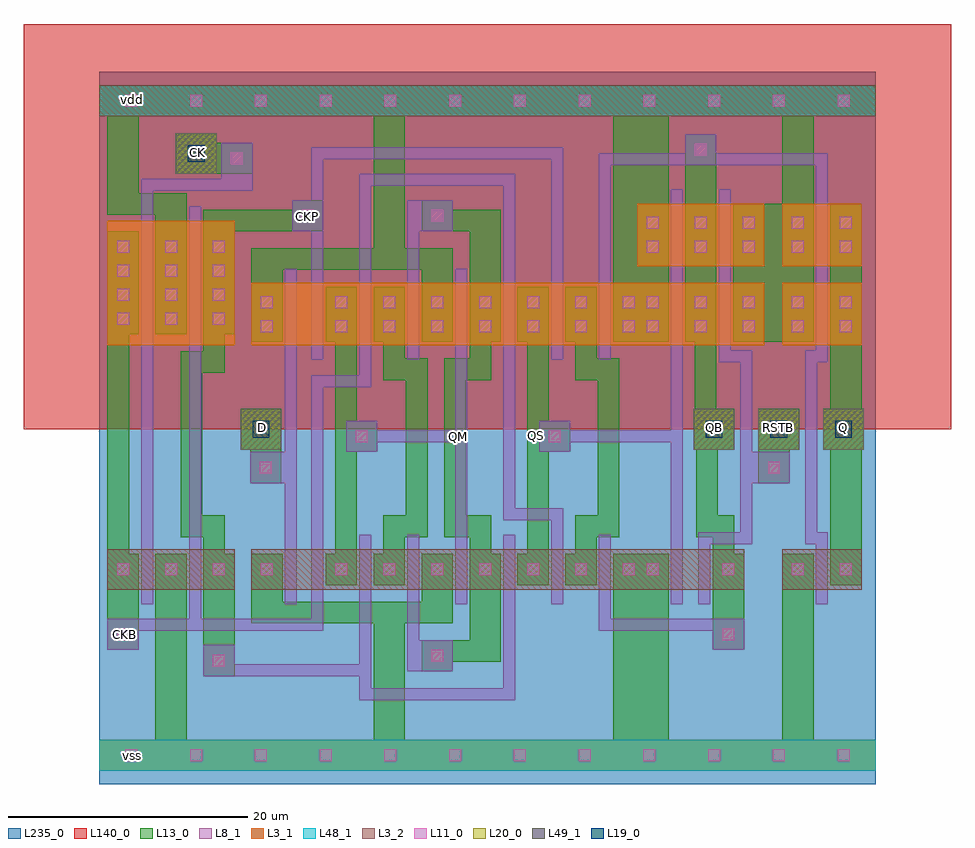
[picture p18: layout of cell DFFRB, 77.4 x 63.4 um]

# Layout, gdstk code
import gdstk
lib = gdstk.Library(unit=1e-6, precision=1e-09)
def R(c, l, rs):  # rectangles x0, y0, x1, y1
    for r in rs: c.add(gdstk.rectangle(r[:2], r[2:], *l))
def A(c, l, x, y, w, h, nx, ny, dx, dy):  # array of equal rectangles
    R(c, l, [(x+i*dx, y+j*dy, x+i*dx+w, y+j*dy+h) for i in range(nx) for j in range(ny)])
def P(c, l, *ps):  # polygons
    for p in ps: c.add(gdstk.Polygon(p, *l))
L3_1 = (3, 1)
L3_2 = (3, 2)
L8_1 = (8, 1)
L11_0 = (11, 0)
L13_0 = (13, 0)
L19_0 = (19, 0)
L20_0 = (20, 0)
L48_1 = (48, 1)
L49_1 = (49, 1)
L140_0 = (140, 0)
L235_0 = (235, 0)

dffrb = lib.new_cell('DFFRB')
R(dffrb, L3_1, [(0,1.1,39,3.7), (39,1.1,64.8,3.7), (0.7,36.6,11.3,47), (12.7,36.6,39,41.8), (39,36.6,55.5,41.8), (57,36.6,63.6,41.8), (44.9,43.2,55.5,48.4), (57,43.2,63.6,48.4)])
R(dffrb, L3_2, [(0.7,16.2,11.3,19.6), (12.7,16.2,39,19.6), (39,16.2,53.8,19.6), (57,16.2,63.6,19.6), (0,55.7,39,58.3), (39,55.7,64.8,58.3)])
P(dffrb, L8_1, [(25.7,9.4),(25.7,20.8),(26.7,20.8),(26.7,12),(29.5,12),(29.5,9.4)],
  [(21.7,7),(21.7,9),(8.7,9),(8.7,11.6),(11.3,11.6),(11.3,10),(21.7,10),(21.7,20.8),(22.7,20.8),(22.7,8),(33.7,8),(33.7,20.8),(34.7,20.8),(34.7,7)],
  [(51.2,11.2),(51.2,12.8),(41.7,12.8),(41.7,20.8),(42.7,20.8),(42.7,13.8),(53.8,13.8),(53.8,11.2)],
  [(15.5,15),(15.5,25.1),(12.6,25.1),(12.6,27.7),(15.5,27.7),(15.5,43),(16.5,43),(16.5,15)],
  [(29.7,15),(29.7,28.5),(23.2,28.5),(23.2,27.7),(20.6,27.7),(20.6,30.3),(23.2,30.3),(23.2,29.5),(29.7,29.5),(29.7,43),(30.7,43),(30.7,15)],
  [(25.7,35.4),(25.7,48.7),(29.5,48.7),(29.5,46.1),(26.7,46.1),(26.7,35.4)],
  [(47.7,15),(47.7,28.5),(39.3,28.5),(39.3,27.7),(36.7,27.7),(36.7,30.3),(39.3,30.3),(39.3,29.5),(47.7,29.5),(47.7,49.6),(48.7,49.6),(48.7,15)],
  [(50,15),(50,21),(53.5,21),(53.5,35.2),(51.7,35.2),(51.7,49.6),(52.7,49.6),(52.7,36.2),(54.5,36.2),(54.5,27.7),(57.6,27.7),(57.6,25.1),(54.5,25.1),(54.5,20),(51,20),(51,15)],
  [(0.7,11.2),(0.7,13.8),(7.5,13.8),(7.5,48.2),(8.5,48.2),(8.5,13.8),(17.7,13.8),(17.7,34.1),(21.7,34.1),(21.7,50.9),(34.7,50.9),(34.7,23),(38.7,23),(38.7,15),(37.7,15),(37.7,22),(33.7,22),(33.7,49.9),(22.7,49.9),(22.7,33.1),(18.7,33.1),(18.7,12.8),(3.3,12.8),(3.3,11.2)],
  [(17.7,35.4),(17.7,46.1),(16.1,46.1),(16.1,48.7),(17.7,48.7),(17.7,53.1),(38.7,53.1),(38.7,35.4),(37.7,35.4),(37.7,52.1),(18.7,52.1),(18.7,35.4)],
  [(3.5,15),(3.5,50.5),(10.2,50.5),(10.2,53.5),(12.8,53.5),(12.8,49.5),(4.5,49.5),(4.5,15)],
  [(59.8,15),(59.8,20),(58.9,20),(58.9,36.2),(59.8,36.2),(59.8,51.6),(42.7,51.6),(42.7,35.4),(41.7,35.4),(41.7,52.6),(48.9,52.6),(48.9,54.2),(51.5,54.2),(51.5,52.6),(60.8,52.6),(60.8,35.2),(59.9,35.2),(59.9,21),(60.8,21),(60.8,15)])
A(dffrb, L11_0, 2.2, 1.9, 1, 1, 12, 2, 5.4, 54.6)
A(dffrb, L11_0, 1.5, 17.4, 1, 1, 4, 1, 4, 0)
A(dffrb, L11_0, 1.5, 38.3, 1, 1, 3, 4, 4, 2)
R(dffrb, L11_0, [(9.5,9.8,10.5,10.8), (27.7,10.2,28.7,11.2), (1.5,12,2.5,13), (52,12,53,13), (19.7,17.4,20.7,18.4), (19.7,17.4,20.7,18.4), (23.7,17.4,24.7,18.4), (23.7,17.4,24.7,18.4), (27.7,17.4,28.7,18.4), (27.7,17.4,28.7,18.4), (27.7,17.4,28.7,18.4), (27.7,17.4,28.7,18.4), (31.7,17.4,32.7,18.4), (31.7,17.4,32.7,18.4), (35.7,17.4,36.7,18.4), (35.7,17.4,36.7,18.4), (35.7,17.4,36.7,18.4), (35.7,17.4,36.7,18.4), (39.7,17.4,40.7,18.4), (39.7,17.4,40.7,18.4), (43.7,17.4,44.7,18.4), (45.7,17.4,46.7,18.4), (45.7,17.4,46.7,18.4), (45.7,17.4,46.7,18.4), (45.7,17.4,46.7,18.4), (45.7,17.4,46.7,18.4), (45.7,17.4,46.7,18.4), (52,17.4,53,18.4), (57.8,17.4,58.8,18.4), (57.8,17.4,58.8,18.4), (61.8,17.4,62.8,18.4), (13.4,25.9,14.4,26.9), (55.8,25.9,56.8,26.9), (21.4,28.5,22.4,29.5), (37.5,28.5,38.5,29.5), (13.5,37.7,14.5,38.7), (19.7,37.7,20.7,38.7), (19.7,37.7,20.7,38.7), (23.7,37.7,24.7,38.7), (23.7,37.7,24.7,38.7), (27.7,37.7,28.7,38.7), (27.7,37.7,28.7,38.7), (27.7,37.7,28.7,38.7), (27.7,37.7,28.7,38.7), (31.7,37.7,32.7,38.7), (31.7,37.7,32.7,38.7), (35.7,37.7,36.7,38.7), (35.7,37.7,36.7,38.7), (35.7,37.7,36.7,38.7), (35.7,37.7,36.7,38.7), (39.7,37.7,40.7,38.7), (39.7,37.7,40.7,38.7), (43.7,37.7,44.7,38.7), (45.7,37.7,46.7,38.7), (45.7,37.7,46.7,38.7), (45.7,37.7,46.7,38.7), (45.7,37.7,46.7,38.7), (45.7,37.7,46.7,38.7), (49.7,37.7,50.7,38.7), (49.7,37.7,50.7,38.7), (49.7,37.7,50.7,38.7), (53.7,37.7,54.7,38.7), (53.7,37.7,54.7,38.7), (53.7,37.7,54.7,38.7), (57.8,37.7,58.8,38.7), (57.8,37.7,58.8,38.7), (61.8,37.7,62.8,38.7), (61.8,37.7,62.8,38.7), (13.5,39.7,14.5,40.7), (19.7,39.7,20.7,40.7), (19.7,39.7,20.7,40.7), (23.7,39.7,24.7,40.7), (23.7,39.7,24.7,40.7), (27.7,39.7,28.7,40.7), (27.7,39.7,28.7,40.7), (27.7,39.7,28.7,40.7), (27.7,39.7,28.7,40.7), (31.7,39.7,32.7,40.7), (31.7,39.7,32.7,40.7), (35.7,39.7,36.7,40.7), (35.7,39.7,36.7,40.7), (35.7,39.7,36.7,40.7), (35.7,39.7,36.7,40.7), (39.7,39.7,40.7,40.7), (39.7,39.7,40.7,40.7), (43.7,39.7,44.7,40.7), (45.7,39.7,46.7,40.7), (45.7,39.7,46.7,40.7), (45.7,39.7,46.7,40.7), (45.7,39.7,46.7,40.7), (45.7,39.7,46.7,40.7), (45.7,39.7,46.7,40.7), (49.7,39.7,50.7,40.7), (49.7,39.7,50.7,40.7), (49.7,39.7,50.7,40.7), (53.7,39.7,54.7,40.7), (53.7,39.7,54.7,40.7), (53.7,39.7,54.7,40.7), (57.8,39.7,58.8,40.7), (57.8,39.7,58.8,40.7), (61.8,39.7,62.8,40.7), (61.8,39.7,62.8,40.7), (45.7,44.3,46.7,45.3), (49.7,44.3,50.7,45.3), (49.7,44.3,50.7,45.3), (49.7,44.3,50.7,45.3), (53.7,44.3,54.7,45.3), (53.7,44.3,54.7,45.3), (53.7,44.3,54.7,45.3), (57.8,44.3,58.8,45.3), (57.8,44.3,58.8,45.3), (57.8,44.3,58.8,45.3), (57.8,44.3,58.8,45.3), (61.8,44.3,62.8,45.3), (61.8,44.3,62.8,45.3), (45.7,46.3,46.7,47.3), (49.7,46.3,50.7,47.3), (49.7,46.3,50.7,47.3), (49.7,46.3,50.7,47.3), (53.7,46.3,54.7,47.3), (53.7,46.3,54.7,47.3), (53.7,46.3,54.7,47.3), (57.8,46.3,58.8,47.3), (57.8,46.3,58.8,47.3), (57.8,46.3,58.8,47.3), (57.8,46.3,58.8,47.3), (61.8,46.3,62.8,47.3), (61.8,46.3,62.8,47.3), (16.9,46.9,17.9,47.9), (27.7,46.9,28.7,47.9), (11,51.7,12,52.7), (49.7,52.4,50.7,53.4)])
R(dffrb, L13_0, [(0,1.1,39,3.7), (39,1.1,64.8,3.7), (4.7,3.7,7.3,19.2), (42.9,3.7,47.5,19.2), (57,3.7,59.6,19.2), (8.7,9,11.3,11.6), (26.9,9.4,29.5,12), (42.9,36.9,47.5,55.7), (52.9,36.9,57,48.4), (57,36.9,59.6,55.7), (0,55.7,39,58.3), (39,55.7,64.8,58.3)])
P(dffrb, L13_0, [(12.7,36.9),(12.7,44.7),(22.9,44.7),(22.9,55.7),(25.5,55.7),(25.5,44.7),(29.5,44.7),(29.5,36.9),(26.9,36.9),(26.9,42.9),(15.3,42.9),(15.3,36.9)],
  [(4.7,37.5),(4.7,47.5),(0.7,47.5),(0.7,55.7),(3.3,55.7),(3.3,49.3),(7.3,49.3),(7.3,37.5)],
  [(12.6,25.1),(12.6,27.9),(11.8,27.9),(11.8,31.3),(15.2,31.3),(15.2,25.1)],
  [(55,25.1),(55,31.3),(58.4,31.3),(58.4,27.9),(57.6,27.9),(57.6,25.1)],
  [(18.9,16.6),(18.9,19.2),(19.7,19.2),(19.7,36.9),(18.9,36.9),(18.9,41.5),(21.5,41.5),(21.5,30.3),(23.2,30.3),(23.2,27.7),(21.5,27.7),(21.5,16.6)],
  [(22.9,16.6),(22.9,19.2),(23.7,19.2),(23.7,22.4),(25.6,22.4),(25.6,33.7),(23.7,33.7),(23.7,36.9),(22.9,36.9),(22.9,41.5),(25.5,41.5),(25.5,35.5),(27.4,35.5),(27.4,20.6),(25.5,20.6),(25.5,16.6)],
  [(34.9,16.6),(34.9,19.2),(35.7,19.2),(35.7,36.9),(34.9,36.9),(34.9,41.5),(37.5,41.5),(37.5,30.3),(39.3,30.3),(39.3,27.7),(37.5,27.7),(37.5,16.6)],
  [(38.9,16.6),(38.9,19.2),(39.7,19.2),(39.7,22.4),(41.6,22.4),(41.6,33.7),(39.7,33.7),(39.7,36.9),(38.9,36.9),(38.9,41.5),(41.5,41.5),(41.5,35.5),(43.4,35.5),(43.4,20.6),(41.5,20.6),(41.5,16.6)],
  [(0.7,11.2),(0.7,46.1),(3.3,46.1),(3.3,37.5),(2.5,37.5),(2.5,19.2),(3.3,19.2),(3.3,11.2)],
  [(61,16.6),(61,27.9),(60.4,27.9),(60.4,31.3),(61,31.3),(61,48.4),(63.6,48.4),(63.6,31.3),(63.8,31.3),(63.8,27.9),(63.6,27.9),(63.6,16.6)],
  [(11.3,46.1),(11.3,47.9),(16.1,47.9),(16.1,48.7),(18.7,48.7),(18.7,46.1)],
  [(29.5,10.2),(29.5,12),(30.9,12),(30.9,20.6),(28.8,20.6),(28.8,35.5),(30.9,35.5),(30.9,46.1),(26.9,46.1),(26.9,48.7),(29.5,48.7),(29.5,47.9),(33.5,47.9),(33.5,36.9),(32.7,36.9),(32.7,33.7),(30.6,33.7),(30.6,22.4),(32.7,22.4),(32.7,19.2),(33.5,19.2),(33.5,10.2)],
  [(51.2,11.2),(51.2,20.6),(49.8,20.6),(49.8,27.9),(49.6,27.9),(49.6,31.3),(49.7,31.3),(49.7,36.9),(48.9,36.9),(48.9,54.2),(51.5,54.2),(51.5,31.3),(53,31.3),(53,27.9),(51.6,27.9),(51.6,22.4),(53,22.4),(53,19.2),(53.8,19.2),(53.8,11.2)],
  [(6.4,50.9),(6.4,54.3),(9.8,54.3),(9.8,53.5),(12.8,53.5),(12.8,50.9)],
  [(8.7,9),(8.7,20.6),(6.8,20.6),(6.8,36.1),(8.7,36.1),(8.7,47.9),(11.3,47.9),(11.3,37.5),(10.5,37.5),(10.5,34.3),(8.6,34.3),(8.6,22.4),(10.5,22.4),(10.5,19.2),(11.3,19.2),(11.3,9)],
  [(22.9,3.7),(22.9,13.4),(12.7,13.4),(12.7,19.2),(15.3,19.2),(15.3,15.2),(26.9,15.2),(26.9,19.2),(29.5,19.2),(29.5,13.4),(25.5,13.4),(25.5,3.7)])
A(dffrb, L19_0, 50.6, 28.9, 1.4, 1.4, 3, 1, 5.4, 0)
R(dffrb, L19_0, [(12.8,28.9,14.2,30.3), (50.6,28.9,52,30.3), (7.4,51.9,8.8,53.3)])
A(dffrb, L20_0, 49.6, 27.9, 3.4, 3.4, 3, 1, 5.4, 0)
R(dffrb, L20_0, [(11.8,27.9,15.2,31.3), (49.6,27.9,53,31.3), (6.4,50.9,9.8,54.3)])
R(dffrb, L48_1, [(0,1.1,39,3.7), (0,1.1,64.8,3.7), (0,55.7,39,58.3), (0,55.7,64.8,58.3)])
A(dffrb, L49_1, 49.6, 27.9, 3.4, 3.4, 3, 1, 5.4, 0)
R(dffrb, L49_1, [(11.8,27.9,15.2,31.3), (49.6,27.9,53,31.3), (6.4,50.9,9.8,54.3)])
R(dffrb, L140_0, [(-6.3,29.6,71.1,63.4)])
R(dffrb, L235_0, [(0,0,64.8,59.4)])
dffrb.add(gdstk.Label('CK', (8.2,52.7), layer=49, texttype=0))
dffrb.add(gdstk.Label('RSTB', (56.7,29.7), layer=49, texttype=0))
dffrb.add(gdstk.Label('D', (13.6,29.7), layer=49, texttype=0))
dffrb.add(gdstk.Label('QB', (51.3,29.7), layer=49, texttype=0))
dffrb.add(gdstk.Label('QB', (51.3,29.7), layer=49, texttype=0))
dffrb.add(gdstk.Label('Q', (62.1,29.7), layer=49, texttype=0))
dffrb.add(gdstk.Label('vss', (2.8,2.4), layer=48, texttype=0))
dffrb.add(gdstk.Label('vss', (2.7,2.4), layer=48, texttype=0))
dffrb.add(gdstk.Label('vdd', (2.8,57.1), layer=48, texttype=0))
dffrb.add(gdstk.Label('vdd', (2.7,57.1), layer=48, texttype=0))
dffrb.add(gdstk.Label('QS', (36.5,29.1), layer=48, texttype=0))
dffrb.add(gdstk.Label('QM', (30,29), layer=48, texttype=0))
dffrb.add(gdstk.Label('CKB', (2.1,12.5), layer=48, texttype=0))
dffrb.add(gdstk.Label('CKP', (17.4,47.3), layer=48, texttype=0))

lib.write_gds('DFFRB.gds')
